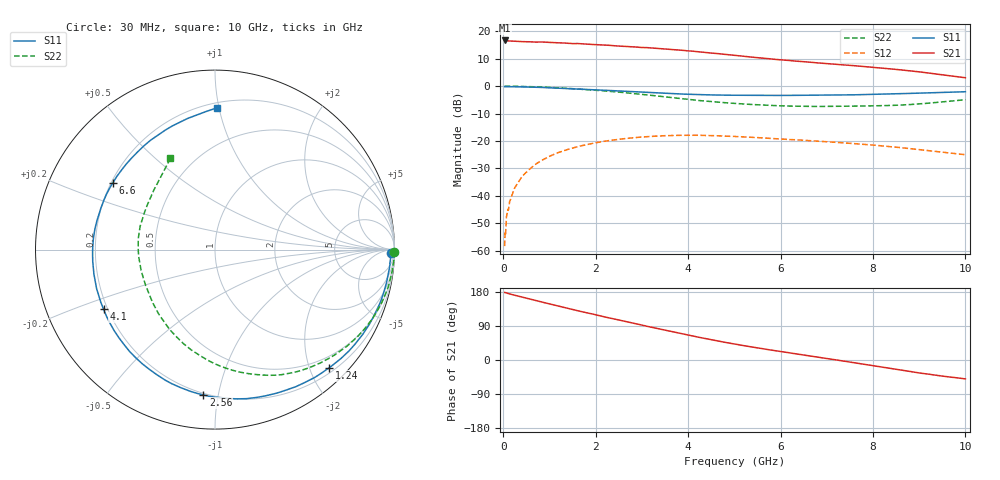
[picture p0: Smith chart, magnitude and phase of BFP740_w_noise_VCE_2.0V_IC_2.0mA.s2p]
! Infineon Technologies  Discrete & RF Semiconductors
! BFP740
! VCE =  2.0 V,  IC =  2.0 mA
! Common Emitter S-Parameters:  Jan 2016
# GHz  S  MA  R  50
!  f  S11  S21  S12  S22
! GHz  MAG  ANG  MAG  ANG  MAG  ANG  MAG  ANG
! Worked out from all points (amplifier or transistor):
!   229 points, 30 MHz to 10 GHz, reference 50 ohm
!   highest |S21| = 16.7 dB at 30 MHz (marker M1)
!   |S21| within 3 dB of that: start of sweep to 3.416 GHz
!   unconditionally stable (mu >= 1): 8.557 GHz to end of sweep
!   at 280 MHz: K = 0.05, MSG = 26.3 dB, |S12| = -36.3 dB
!   at 1.78 GHz: K = 0.17, MSG = 18.4 dB, |S12| = -21.4 dB
!   at 10 GHz: K = 1.32, MAG = 10.7 dB, |S12| = -25.0 dB
!   lowest NFmin = 0.46 dB at 450 MHz
!   S11 on the Smith chart (normalised r, x): 30 MHz: 52, -47; 1.24 GHz: 0.29, -2.33; 2.56 GHz: 0.19, -0.90; 4.1 GHz: 0.18, -0.24; 6.6 GHz: 0.21, +0.28; 10 GHz: 0.24, +0.99
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0.03  0.9791 -1.1  6.815 178.3  0.0012 99.3  0.9995 -0.8
0.04  0.9802 -1.5  6.603 177.9  0.0022 83.6  0.9997 -1.1
0.05  0.9811 -1.8  6.707 177.9  0.002 98.9  1 -1.5
0.08  0.9794 -3.0  6.681 176.5  0.0046 90.2  0.9989 -2.1
0.26  0.9735 -9.8  6.592 170.5  0.0144 81.7  0.9942 -6.9
0.8  0.9491 -29.8  6.407 154.1  0.0426 68.6  0.9658 -21.0
1.24  0.9153 -46.0  6.151 140.6  0.0634 56.7  0.926 -32.4
1.7  0.8778 -63.0  5.917 127.5  0.0819 45.5  0.8763 -43.9
2.2  0.8407 -81.6  5.617 113.5  0.099 33.4  0.8168 -56.6
2.56  0.8127 -94.6  5.346 104.0  0.1087 25.1  0.7698 -65.4
3.1  0.7685 -115.0  5.051 89.2  0.1195 13.1  0.6935 -79.1
3.4  0.7471 -126.2  4.835 81.4  0.1235 6.5  0.6509 -87.2
4.1  0.7043 -151.8  4.341 63.2  0.1268 -7.9  0.5623 -106.0
4.6  0.6883 -168.5  3.954 51.1  0.1244 -17.1  0.5145 -118.7
5.1  0.6806 177.3  3.585 40.1  0.1196 -25.2  0.4787 -130.3
5.8  0.6756 161.8  3.135 26.1  0.1108 -34.5  0.4429 -145.7
6.6  0.68 147.1  2.747 11.3  0.1016 -43.2  0.4274 -164.5
6.8  0.6821 143.5  2.656 7.7  0.0991 -45.3  0.4254 -169.4
7.6  0.6944 128.3  2.358 -7.3  0.0892 -52.8  0.4317 172.0
8.4  0.7211 112.6  2.056 -22.7  0.0783 -59.1  0.4442 152.2
9  0.7465 101.8  1.822 -34.2  0.0695 -62.3  0.4743 136.2
10  0.79 89.1  1.422 -49.9  0.056 -62.0  0.5655 116.1
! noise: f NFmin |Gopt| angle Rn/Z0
0.45  0.46  0.57  13  0.36
0.9  0.48  0.58  20  0.35
1.5  0.55  0.56  30  0.33
1.9  0.59  0.53  44  0.32
2.4  0.63  0.53  51  0.31
3.5  0.77  0.49  75  0.29
5.5  1.07  0.36  151  0.25
10  1.84  0.61  -89  0.34
